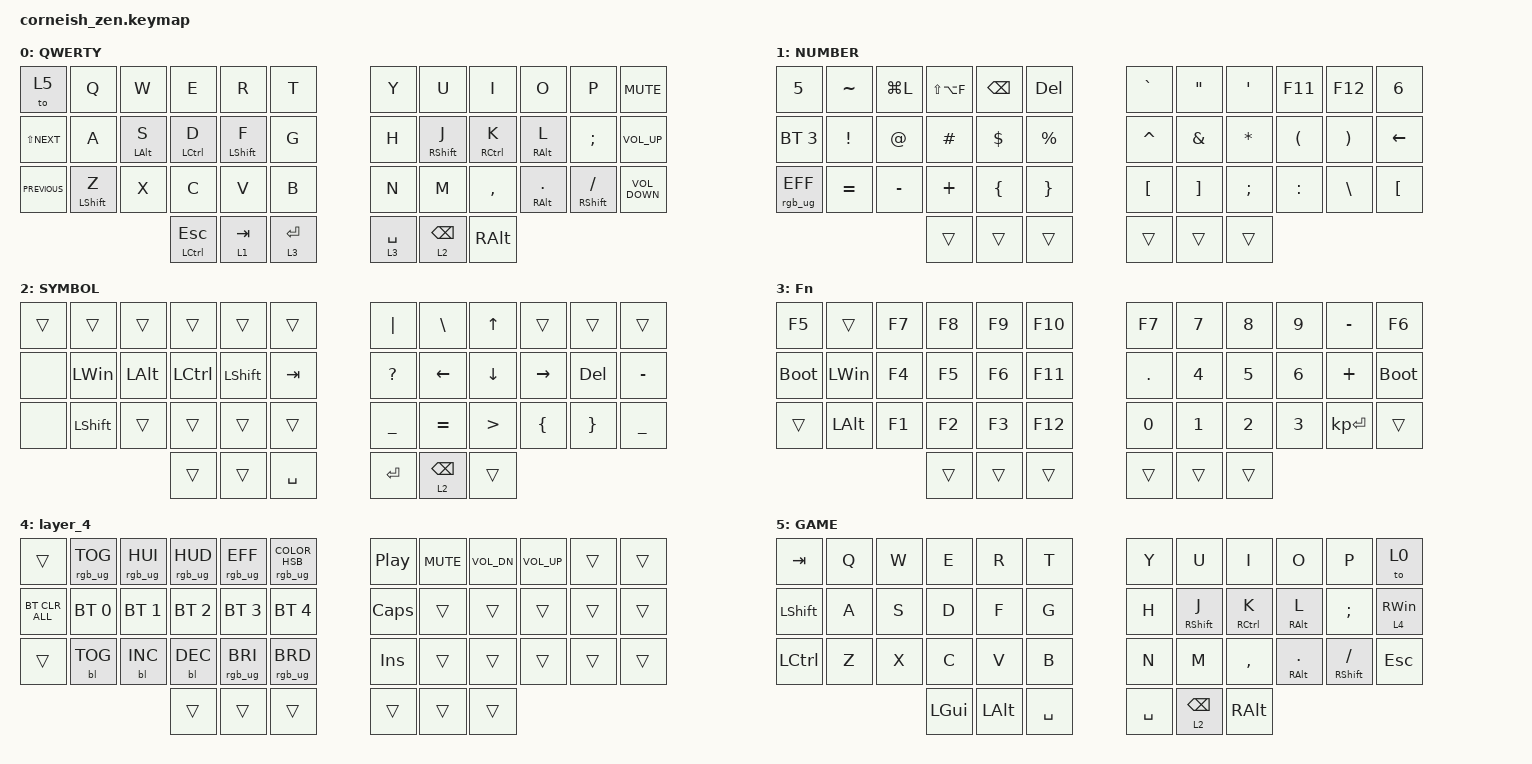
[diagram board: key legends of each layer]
/*
 * Copyright (c) 2020 The ZMK Contributors
 *
 * SPDX-License-Identifier: MIT
 */

#include <behaviors.dtsi>
#include <dt-bindings/zmk/backlight.h>
#include <dt-bindings/zmk/bt.h>
#include <dt-bindings/zmk/keys.h>
#include <dt-bindings/zmk/rgb.h>

/ {
    chosen {
        zmk,matrix_transform = &default_transform;

        // zmk,matrix_transform = &five_column_transform;
    };
};

/ {
    behaviors {
        td0: td0 {
            compatible = "zmk,behavior-tap-dance";
            label = "TD0";
            #binding-cells = <0>;
            bindings = <&kp LEFT_SHIFT>, <&kp CAPS>;
        };

        lt100ms: lt100ms {
            compatible = "zmk,behavior-hold-tap";
            label = "LT100MS";
            bindings = <&mo>, <&kp>;

            #binding-cells = <2>;
            tapping-term-ms = <100>;
        };

        lt200ms: lt200ms {
            compatible = "zmk,behavior-hold-tap";
            label = "LT200MS";
            bindings = <&mo>, <&kp>;

            #binding-cells = <2>;
            tapping-term-ms = <200>;
            flavor = "tap-preferred";
        };

        mtz200ms: mtz200ms {
            compatible = "zmk,behavior-hold-tap";
            label = "MTZ200MS";
            bindings = <&kp>, <&kp>;

            #binding-cells = <2>;
            tapping-term-ms = <200>;
            flavor = "tap-preferred";
        };
    };

    macros {
        format_code: format_code {
            compatible = "zmk,behavior-macro";
            #binding-cells = <0>;
            bindings = <&none>;
            label = "FORMAT_CODE";
        };
    };

    keymap {
        compatible = "zmk,keymap";

        default_layer {
            display-name = "QWERTY";

            // --------------------------------------------------------------------------------
            // |  TAB |  Q  |  W  |  E  |  R  |  T  |   |  Y  |  U   |  I  |  O  |  P  | BKSP |
            // | CTRL |  A  |  S  |  D  |  F  |  G  |   |  H  |  J   |  K  |  L  |  ;  |  '   | 
            // | SHFT |  Z  |  X  |  C  |  V  |  B  |   |  N  |  M   |  ,  |  .  |  /  | ESC  |
            //                    | GUI | LWR | SPC |   | ENT | RSE  | ALT |

            bindings = <
&to 5           &kp Q                   &kp W                 &kp E                     &kp R                   &kp T               &kp Y             &kp U                    &kp I              &kp O                  &kp P                 &kp C_MUTE
&kp LS(C_NEXT)  &kp A                   &mtz200ms LEFT_ALT S  &mtz200ms LEFT_CONTROL D  &mtz200ms LEFT_SHIFT F  &kp G               &kp H             &mtz200ms RIGHT_SHIFT J  &mtz200ms RCTRL K  &mtz200ms RIGHT_ALT L  &kp SEMICOLON         &kp C_VOLUME_UP
&kp K_PREVIOUS  &mtz200ms LEFT_SHIFT Z  &kp X                 &kp C                     &kp V                   &kp B               &kp N             &kp M                    &kp COMMA          &mt RIGHT_ALT PERIOD   &mt RIGHT_SHIFT FSLH  &kp K_VOLUME_DOWN
                                                              &mtz200ms LCTRL ESCAPE    &lt100ms 1 TAB          &lt100ms 3 ENTER    &lt200ms 3 SPACE  &lt100ms 2 BACKSPACE     &kp RALT
            >;
        };

        lower_layer {
            display-name = "NUMBER";

            // -----------------------------------------------------------------------------------------
            // |  TAB |  1  |  2  |  3  |  4  |  5  |   |  6  |  7  |  8  |  9  |  0  | BKSP |
            // | BTCLR| BT1 | BT2 | BT3 | BT4 | BT5 |   | LFT | DWN |  UP | RGT |     |      |
            // | SHFT |     |     |     |     |     |   |     |     |     |     |     |      |
            //                    | GUI |     | SPC |   | ENT |     | ALT |

            bindings = <
&kp N5           &kp TILDE        &kp LG(L)    &kp LS(LA(F))  &kp BACKSPACE   &kp DELETE         &kp GRAVE         &kp DOUBLE_QUOTES  &kp SINGLE_QUOTE  &kp F11               &kp F12                &kp N6
&bt BT_SEL 3     &kp EXCLAMATION  &kp AT_SIGN  &kp HASH       &kp DOLLAR      &kp PERCENT        &kp CARET         &kp AMPS           &kp ASTRK         &kp LEFT_PARENTHESIS  &kp RIGHT_PARENTHESIS  &kp LEFT
&rgb_ug RGB_EFF  &kp EQUAL        &kp MINUS    &kp PLUS       &kp LEFT_BRACE  &kp RIGHT_BRACE    &kp LEFT_BRACKET  &kp RIGHT_BRACKET  &kp SEMICOLON     &kp COLON             &kp BACKSLASH          &kp LEFT_BRACKET
                                               &trans         &trans          &trans             &trans            &trans             &trans
            >;
        };

        raise_layer {
            display-name = "SYMBOL";

            // -----------------------------------------------------------------------------------------
            // |  TAB |  !  |  @  |  #  |  $  |  %  |   |  ^  |  &  |  *  |  (  |  )  | BKSP |
            // | CTRL |     |     |     |     |     |   |  -  |  =  |  [  |  ]  |  \  |  `   |
            // | SHFT |     |     |     |     |     |   |  _  |  +  |  {  |  }  | "|" |  ~   |
            //                    | GUI |     | SPC |   | ENT |     | ALT |

            bindings = <
&trans  &trans          &trans        &trans     &trans          &trans       &kp PIPE        &kp BACKSLASH         &kp UP_ARROW      &trans           &trans           &trans
&none   &kp LEFT_WIN    &kp LEFT_ALT  &kp LCTRL  &kp LEFT_SHIFT  &kp TAB      &kp QUESTION    &kp LEFT_ARROW        &kp DOWN_ARROW    &kp RIGHT_ARROW  &kp DELETE       &kp MINUS
&none   &kp LEFT_SHIFT  &trans        &trans     &trans          &trans       &kp UNDERSCORE  &kp EQUAL             &kp GREATER_THAN  &kp LEFT_BRACE   &kp RIGHT_BRACE  &kp UNDER
                                      &trans     &trans          &kp SPACE    &kp RET         &lt200ms 2 BACKSPACE  &trans
            >;
        };

        layer_3 {
            display-name = "Fn";
            bindings = <
&kp F5       &trans        &kp F7  &kp F8  &kp F9  &kp F10    &kp F7        &kp NUMBER_7  &kp NUMBER_8  &kp NUMBER_9  &kp MINUS     &kp F6
&bootloader  &kp LEFT_WIN  &kp F4  &kp F5  &kp F6  &kp F11    &kp DOT       &kp NUMBER_4  &kp NUMBER_5  &kp NUMBER_6  &kp PLUS      &bootloader
&trans       &kp LEFT_ALT  &kp F1  &kp F2  &kp F3  &kp F12    &kp NUMBER_0  &kp NUMBER_1  &kp NUMBER_2  &kp NUMBER_3  &kp KP_ENTER  &trans
                                   &trans  &trans  &trans     &trans        &trans        &trans
            >;
        };

        layer_4 {
            bindings = <
&trans          &rgb_ug RGB_TOG  &rgb_ug RGB_HUI  &rgb_ug RGB_HUD  &rgb_ug RGB_EFF  &rgb_ug RGB_COLOR_HSB(292,100,50)    &kp C_PLAY_PAUSE  &kp C_MUTE  &kp C_VOL_DN  &kp C_VOLUME_UP  &trans  &trans
&bt BT_CLR_ALL  &bt BT_SEL 0     &bt BT_SEL 1     &bt BT_SEL 2     &bt BT_SEL 3     &bt BT_SEL 4                         &kp CAPSLOCK      &trans      &trans        &trans           &trans  &trans
&trans          &bl BL_TOG       &bl BL_INC       &bl BL_DEC       &rgb_ug RGB_BRI  &rgb_ug RGB_BRD                      &kp INS           &trans      &trans        &trans           &trans  &trans
                                                  &trans           &trans           &trans                               &trans            &trans      &trans
            >;
        };

        layer_5 {
            display-name = "GAME";
            bindings = <
&kp TAB     &kp Q  &kp W  &kp E     &kp R         &kp T        &kp Y      &kp U                    &kp I              &kp O                  &kp P                 &to 0
&kp LSHIFT  &kp A  &kp S  &kp D     &kp F         &kp G        &kp H      &mtz200ms RIGHT_SHIFT J  &mtz200ms RCTRL K  &mtz200ms RIGHT_ALT L  &kp SEMICOLON         &lt 4 RIGHT_WIN
&kp LCTRL   &kp Z  &kp X  &kp C     &kp V         &kp B        &kp N      &kp M                    &kp COMMA          &mt RIGHT_ALT PERIOD   &mt RIGHT_SHIFT FSLH  &kp ESC
                          &kp LGUI  &kp LEFT_ALT  &kp SPACE    &kp SPACE  &lt100ms 2 BACKSPACE     &kp RALT
            >;
        };
    };
};
